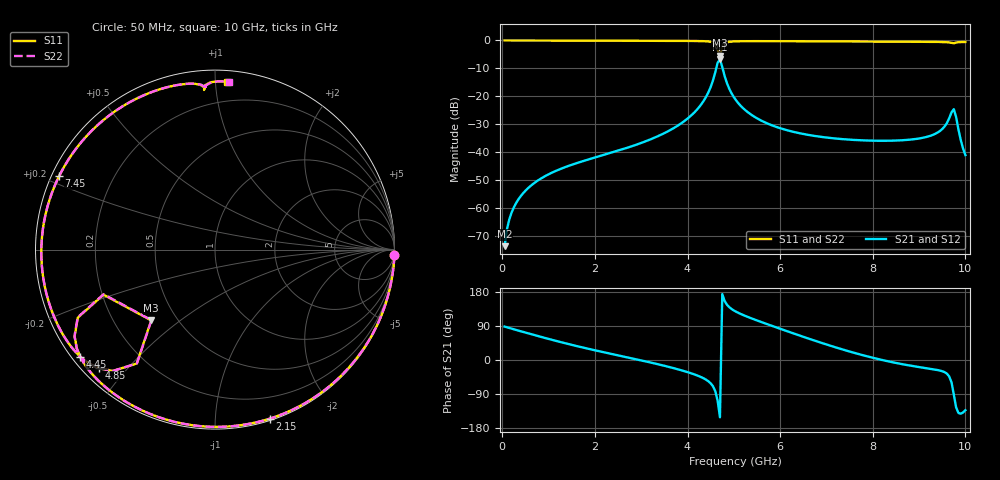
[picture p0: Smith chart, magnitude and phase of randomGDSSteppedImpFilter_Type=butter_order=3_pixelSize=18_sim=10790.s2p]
! freq	dB(S11)	phase(S11)	dB(S12)	phase(S12)
!  dB(S21)	phase(S21)	dB(S22)	phase(S22)
!S-par simulation data
#  GHz  S  DB  R 50
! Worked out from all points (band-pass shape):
!   200 points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, 50 MHz to 10 GHz, reference 50 ohm
!   highest |S21| = -6.80 dB at 4.7 GHz (marker M1); lowest = -73.8 dB at 50 MHz (marker M2)
!   |S21| within 3 dB of the highest: 4.623 GHz to 4.754 GHz (131.4 MHz wide, 2.8 % of centre)
!   lowest |S11| = -5.5 dB at 4.7 GHz (marker M3), VSWR 3.26, Z = 18 - j19.8 ohm
!   |S11| at or under -10 dB: nowhere
!   |S22| runs from -5.5 to 0.0 dB; largest |S21 - S12| = 0
!   S11 on the Smith chart (normalised r, x): 50 MHz: 0, -64; 2.15 GHz: 0.01, -1.37; 4.45 GHz: 0.02, -0.35; 4.85 GHz: 0.05, -0.42; 7.45 GHz: 0.02, +0.22; 10 GHz: 0.07, +1.07
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0.05  -0.00 -1.8  -73.79 88.2  -73.79 88.2  -0.00 -1.8
0.1  -0.00 -3.6  -67.78 86.3  -67.78 86.3  -0.00 -3.6
0.2  -0.01 -7.1  -61.78 82.8  -61.78 82.8  -0.01 -7.1
0.5  -0.02 -17.6  -53.90 72.4  -53.90 72.4  -0.02 -17.6
1.75  -0.07 -59.5  -43.24 32.6  -43.24 32.6  -0.07 -59.5
2.15  -0.09 -72.1  -41.26 21.5  -41.26 21.5  -0.09 -72.1
3.4  -0.13 -108.7  -34.04 -12.3  -34.04 -12.3  -0.13 -108.8
4.05  -0.17 -127.1  -27.34 -33.9  -27.34 -33.9  -0.18 -127.2
4.45  -0.36 -141.5  -18.62 -56.2  -18.62 -56.2  -0.36 -141.6
4.6  -1.38 -153.6  -11.33 -82.4  -11.33 -82.4  -1.38 -153.8
4.65  -3.48 -158.0  -7.97 -107.6  -7.97 -107.6  -3.49 -158.2
4.7  -5.50 -132.0  -6.80 -151.1  -6.80 -151.1  -5.53 -132.0
4.75  -2.27 -124.5  -9.52 173.8  -9.52 173.8  -2.28 -124.5
4.85  -0.67 -134.4  -15.25 146.1  -15.25 146.1  -0.67 -134.4
5.05  -0.31 -144.3  -21.53 127.3  -21.53 127.3  -0.31 -144.4
5.65  -0.25 -161.5  -29.22 97.7  -29.22 97.7  -0.25 -161.5
6.7  -0.30 173.0  -34.13 53.0  -34.13 53.0  -0.30 172.8
7.45  -0.35 154.8  -35.53 24.1  -35.53 24.1  -0.35 154.7
8.35  -0.42 132.2  -35.97 -4.0  -35.97 -4.0  -0.42 132.0
9.35  -0.52 104.6  -33.48 -25.4  -33.48 -25.4  -0.52 104.3
9.75  -1.00 93.9  -24.65 -91.1  -24.65 -91.1  -0.99 93.5
10  -0.56 85.8  -41.13 -132.6  -41.13 -132.6  -0.56 85.3
